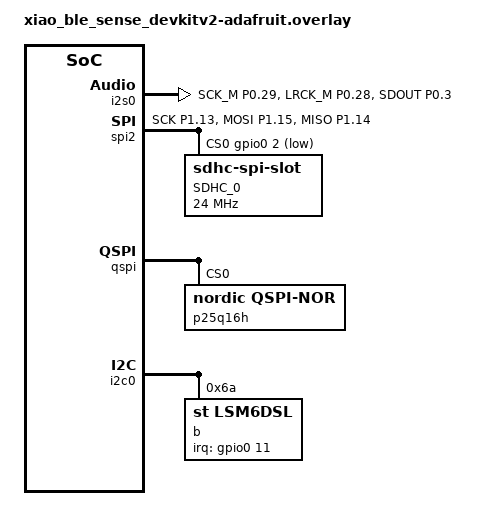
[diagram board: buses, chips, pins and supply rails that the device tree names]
&i2s0 {
    status = "okay";
    pinctrl-0 = <&i2s0_default>;
    pinctrl-names = "default";
    label = "I2S_0";
};

&pinctrl {
    i2s0_default: i2s0_default {
        group1 {
            psels = <NRF_PSEL(I2S_SCK_M, 0, 29)>,    // SCK pin (bit clock) A3
                    <NRF_PSEL(I2S_LRCK_M, 0, 28)>,   // LRCK pin (word select clock) A2
                    <NRF_PSEL(I2S_SDOUT, 0, 3)>;    // SDOUT pin (data out) A1
        };
    };
};

&spi2 {
    status = "okay";
    pinctrl-0 = <&custom_spi>;
    pinctrl-1 = <&custom_spi>;
    pinctrl-names = "default", "sleep";
    cs-gpios = <&gpio0 2 GPIO_ACTIVE_LOW>;  // CS pin on P0.28

    sdhc0: sdhc@0 {
        compatible = "zephyr,sdhc-spi-slot";
        reg = <0>;
        status = "okay";
        label = "SDHC_0";
        mmc {
            compatible = "zephyr,sdmmc-disk";
            status = "okay";
        };
        spi-max-frequency = <24000000>;  // 24 MHz SPI speed for SD card
    };
};

&pinctrl {
    custom_spi: custom_spi {
        group1 {
            psels = <NRF_PSEL(SPIM_SCK, 1, 13)>,  // SCK on P1.13
                    <NRF_PSEL(SPIM_MOSI, 1, 15)>, // MOSI on P1.15
                    <NRF_PSEL(SPIM_MISO, 1, 14)>; // MISO on P1.14
        };
    };
};

&uart0 {
    status = "disabled";
};

&qspi {
	status = "okay";
	pinctrl-0 = <&qspi_default>;
	pinctrl-1 = <&qspi_default>; // the pins shouldn't change in sleep mode
	pinctrl-names = "default", "sleep";
	p25q16h: p25q16h@0 {
		compatible = "nordic,qspi-nor";
		reg = <0>;
		sck-frequency = <104000000>;
		quad-enable-requirements = "S2B1v1";
		jedec-id = [85 60 15];
		sfdp-bfp = [
			e5 20 f1 ff  ff ff ff 00  44 eb 08 6b  08 3b 80 bb
			ee ff ff ff  ff ff 00 ff  ff ff 00 ff  0c 20 0f 52
			10 d8 08 81
		];
		size = <16777216>;
		has-dpd;
		t-enter-dpd = <3000>;
		t-exit-dpd = <8000>;
	};
};

&i2c0 {
    lsm6ds3tr_c: lsm6ds3tr-c@6a {
		compatible = "st,lsm6dsl";
		reg = <0x6a>;
		irq-gpios = <&gpio0 11 GPIO_ACTIVE_HIGH>;
		status = "okay";
        label = "b";
        // wakeup-source = true;
	};
};

&i2c1{
    status = "disabled";
};

&temp {
    status = "disabled";
};

